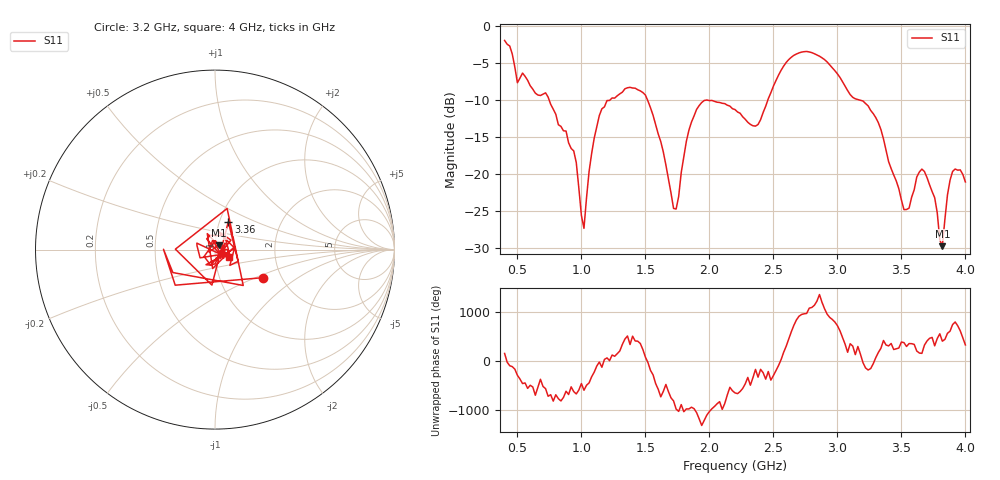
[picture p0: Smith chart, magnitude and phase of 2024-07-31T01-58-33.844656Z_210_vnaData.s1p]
!Created with skrf (http://scikit-rf.org).
# Hz S RI R 50.0
!freq ReS11 ImS11
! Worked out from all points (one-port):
!   181 points, 400 MHz to 4 GHz, reference 50 ohm
!   lowest |S11| = -29.8 dB at 3.82 GHz (marker M1), VSWR 1.07, Z = 52 + j2.61 ohm
!   |S11| at or under -10 dB: 746.9 MHz to 1.227 GHz (479.8 MHz wide, 48.6 % of centre); 1.515 GHz to 2.458 GHz (942.6 MHz wide, 47.5 % of centre); 3.162 GHz to end of sweep
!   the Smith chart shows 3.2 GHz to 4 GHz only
!   S11 on the Smith chart (normalised r, x): 3.2 GHz: 1.61, -0.56; 3.36 GHz: 1.10, +0.35; 4 GHz: 1.17, -0.09
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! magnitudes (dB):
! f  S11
! 400 MHz  -2.0
! 500 MHz  -7.7
! 720 MHz  -9.1
! 860 MHz  -14.2
! 960 MHz  -18.5
! 1.02 GHz  -27.4
! 1.06 GHz  -19.7
! 1.14 GHz  -12.1
! 1.3 GHz  -9.2
! 1.5 GHz  -9.4
! 1.62 GHz  -15.7
! 1.72 GHz  -24.7
! 1.76 GHz  -23.1
! 1.82 GHz  -15.6
! 1.9 GHz  -11.3
! 2.2 GHz  -11.3
! 2.38 GHz  -13.4
! 2.66 GHz  -4.0
! 2.88 GHz  -4.4
! 3.1 GHz  -9.3
! 3.2 GHz  -10.2
! 3.36 GHz  -15.3
! 3.56 GHz  -24.6
! 3.68 GHz  -19.7
! 3.76 GHz  -23.2
! 3.82 GHz  -29.8
! 3.9 GHz  -19.7
! 4 GHz  -21.1
